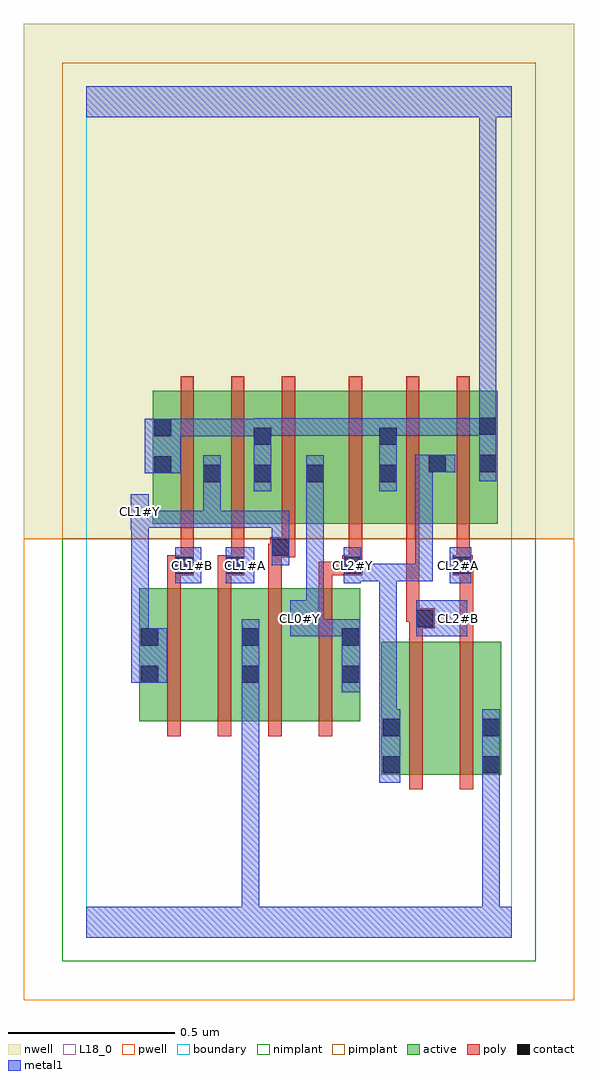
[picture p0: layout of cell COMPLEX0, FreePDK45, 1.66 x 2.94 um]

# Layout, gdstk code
import gdstk
lib = gdstk.Library(unit=1e-6, precision=1e-09)
def R(c, l, rs):  # rectangles x0, y0, x1, y1
    for r in rs: c.add(gdstk.rectangle(r[:2], r[2:], *l))
def A(c, l, x, y, w, h, nx, ny, dx, dy):  # array of equal rectangles
    R(c, l, [(x+i*dx, y+j*dy, x+i*dx+w, y+j*dy+h) for i in range(nx) for j in range(ny)])
active = (1, 0)
pwell = (2, 0)
nwell = (3, 0)
nimplant = (4, 0)
pimplant = (5, 0)
poly = (9, 0)
contact = (10, 0)
metal1 = (11, 0)
L18_0 = (18, 0)
boundary = (235, 0)

complex0 = lib.new_cell('COMPLEX0')
R(complex0, active, [(0.888,0.49,0.948,0.89), (0.888,0.49,1.068,0.89), (1.068,0.49,1.248,0.89), (1.188,0.49,1.248,0.89), (0.16,0.65,0.34,1.05), (0.34,0.65,0.524,1.05), (0.464,0.65,0.644,1.05), (0.644,0.65,0.824,1.05), (0.16,0.756,0.22,1.05), (0.464,0.756,0.524,0.934), (0.764,0.756,0.824,1.05), (0.2,1.244,0.26,1.644), (0.2,1.244,0.408,1.644), (0.348,1.244,0.408,1.644), (0.348,1.244,0.56,1.644), (0.5,1.244,0.56,1.644), (0.5,1.244,0.718,1.644), (0.658,1.244,0.718,1.644), (0.658,1.244,0.938,1.644), (0.878,1.244,0.938,1.644), (0.878,1.244,1.086,1.644), (1.026,1.244,1.086,1.644), (1.026,1.244,1.238,1.644), (1.178,1.244,1.238,1.644)])
R(complex0, pwell, [(-0.188,-0.188,1.468,1.2)])
R(complex0, nwell, [(-0.188,1.2,1.468,2.748)])
R(complex0, nimplant, [(-0.072,-0.072,1.352,1.2)])
R(complex0, pimplant, [(-0.072,1.2,1.352,2.632)])
A(complex0, poly, 0.244, 0.606, 0.04, 0.488, 4, 1, 0.152, 0)
A(complex0, poly, 0.284, 1.2, 0.04, 0.488, 3, 1, 0.152, 0)
R(complex0, poly, [(0.972,0.446,1.012,0.934), (1.124,0.446,1.164,0.934), (0.972,0.894,1.012,0.97), (1.124,0.894,1.164,1.13), (0.972,0.93,1.048,0.99), (0.962,0.95,1.002,1.24), (0.962,0.95,1.012,0.99), (0.972,0.95,1.012,0.99), (0.244,1.054,0.284,1.13), (0.396,1.054,0.436,1.13), (0.548,1.054,0.588,1.184), (0.7,1.054,0.74,1.13), (0.244,1.09,0.324,1.15), (0.396,1.09,0.476,1.15), (0.7,1.09,0.81,1.13), (0.77,1.09,0.81,1.13), (0.77,1.09,0.83,1.15), (1.102,1.09,1.162,1.15), (1.122,1.09,1.162,1.13), (1.122,1.09,1.164,1.13), (0.284,1.11,0.324,1.24), (0.284,1.11,0.324,1.15), (0.284,1.11,0.324,1.15), (0.436,1.11,0.476,1.24), (0.436,1.11,0.476,1.15), (0.436,1.11,0.476,1.15), (0.79,1.11,0.83,1.24), (1.114,1.11,1.154,1.24), (0.548,1.144,0.594,1.184), (0.554,1.144,0.594,1.184), (0.554,1.144,0.628,1.204), (0.588,1.164,0.628,1.24), (0.79,1.2,0.83,1.688), (0.962,1.2,1.002,1.688), (1.114,1.2,1.154,1.688)])
R(complex0, contact, [(0.892,0.494,0.944,0.546), (1.192,0.494,1.244,0.546), (0.892,0.606,0.944,0.658), (1.192,0.606,1.244,0.658), (0.164,0.766,0.216,0.818), (0.468,0.766,0.52,0.818), (0.768,0.766,0.82,0.818), (0.164,0.878,0.216,0.93), (0.468,0.878,0.52,0.93), (0.768,0.878,0.82,0.93), (0.992,0.934,1.044,0.986), (0.268,1.094,0.32,1.146), (0.42,1.094,0.472,1.146), (0.774,1.094,0.826,1.146), (1.106,1.094,1.158,1.146), (0.558,1.148,0.61,1.2), (0.352,1.37,0.404,1.422), (0.504,1.37,0.556,1.422), (0.662,1.37,0.714,1.422), (0.882,1.37,0.934,1.422), (0.204,1.396,0.256,1.448), (1.03,1.4,1.082,1.452), (1.182,1.4,1.234,1.452), (0.504,1.482,0.556,1.534), (0.882,1.482,0.934,1.534), (0.204,1.508,0.256,1.56), (1.182,1.512,1.234,1.564)])
R(complex0, metal1, [(0,0,1.28,0.092), (0.468,0.04,0.52,0.79), (1.192,0.04,1.244,0.092), (1.192,0.04,1.244,0.092), (1.192,0.04,1.244,0.092), (1.192,0.04,1.244,0.092), (1.192,0.04,1.244,0.518), (0.882,0.466,0.944,0.686), (1.192,0.466,1.244,0.518), (1.192,0.466,1.244,0.518), (1.192,0.466,1.244,0.518), (1.192,0.466,1.244,0.518), (1.192,0.466,1.244,0.518), (1.192,0.466,1.244,0.518), (1.192,0.466,1.244,0.518), (1.192,0.466,1.244,0.518), (1.192,0.466,1.244,0.686), (0.882,0.634,0.934,0.686), (0.882,0.634,0.934,0.686), (0.882,0.634,0.934,1.124), (0.468,0.738,0.52,0.79), (0.468,0.738,0.52,0.79), (0.468,0.738,0.52,0.79), (0.468,0.738,0.52,0.79), (0.468,0.738,0.52,0.79), (0.468,0.738,0.52,0.79), (0.468,0.738,0.52,0.79), (0.468,0.738,0.52,0.79), (0.468,0.738,0.52,0.79), (0.468,0.738,0.52,0.79), (0.468,0.738,0.52,0.79), (0.468,0.738,0.52,0.79), (0.468,0.738,0.52,0.958), (0.768,0.738,0.824,0.958), (0.136,0.766,0.244,0.93), (0.136,0.878,0.188,0.93), (0.136,0.878,0.188,0.93), (0.136,0.878,0.188,1.278), (0.614,0.906,0.714,1.014), (0.662,0.906,0.72,0.958), (0.668,0.906,0.72,0.958), (0.668,0.906,0.824,0.958), (0.772,0.906,0.824,0.958), (0.772,0.906,0.824,0.958), (0.992,0.906,1.146,1.014), (0.662,0.962,0.714,1.394), (0.268,1.066,0.346,1.174), (0.42,1.066,0.506,1.174), (0.774,1.066,0.826,1.174), (1.094,1.066,1.158,1.174), (0.774,1.072,0.826,1.124), (0.774,1.072,0.826,1.124), (0.774,1.072,0.934,1.124), (0.882,1.072,0.934,1.124), (0.882,1.072,0.944,1.124), (0.892,1.072,0.944,1.124), (0.892,1.072,1.042,1.124), (0.99,1.072,1.042,1.124), (0.99,1.072,1.042,1.452), (0.558,1.12,0.61,1.284), (0.134,1.226,0.188,1.334), (0.136,1.232,0.188,1.284), (0.136,1.232,0.188,1.284), (0.136,1.232,0.404,1.284), (0.352,1.232,0.404,1.284), (0.352,1.232,0.404,1.284), (0.352,1.232,0.404,1.284), (0.352,1.232,0.514,1.284), (0.352,1.232,0.404,1.394), (0.462,1.232,0.514,1.284), (0.462,1.232,0.61,1.284), (0.352,1.342,0.404,1.45), (0.504,1.342,0.556,1.562), (0.662,1.342,0.714,1.394), (0.662,1.342,0.714,1.394), (0.662,1.342,0.714,1.45), (0.882,1.342,0.934,1.562), (1.182,1.372,1.234,1.592), (0.176,1.396,0.284,1.56), (0.99,1.4,1.11,1.452), (0.232,1.508,0.284,1.56), (0.232,1.508,0.284,1.56), (0.232,1.508,0.394,1.56), (0.342,1.508,0.394,1.56), (0.342,1.508,0.394,1.56), (0.342,1.508,0.394,1.56), (0.342,1.508,0.556,1.56), (0.504,1.51,0.556,1.562), (0.504,1.51,0.556,1.562), (0.504,1.51,0.71,1.562), (0.658,1.51,0.71,1.562), (0.658,1.51,0.72,1.562), (0.668,1.51,0.72,1.562), (0.668,1.51,0.824,1.562), (0.772,1.51,0.824,1.562), (0.772,1.51,0.934,1.562), (0.882,1.51,0.936,1.562), (0.884,1.51,0.936,1.562), (0.884,1.51,1.054,1.562), (1.002,1.51,1.054,1.562), (1.002,1.51,1.054,1.562), (1.002,1.51,1.054,1.562), (1.002,1.51,1.234,1.562), (1.182,1.54,1.234,2.52), (0,2.468,1.28,2.56), (1.182,2.468,1.234,2.52), (1.182,2.468,1.234,2.52), (1.182,2.468,1.234,2.52), (1.182,2.468,1.234,2.52), (1.182,2.468,1.234,2.52), (1.182,2.468,1.234,2.52), (1.182,2.468,1.234,2.52), (1.182,2.468,1.234,2.52), (1.182,2.468,1.234,2.52), (1.182,2.468,1.234,2.52), (1.182,2.468,1.234,2.52), (1.182,2.468,1.234,2.52), (1.182,2.468,1.234,2.52), (1.182,2.468,1.234,2.52), (1.182,2.468,1.234,2.52), (1.182,2.468,1.234,2.52)])
A(complex0, L18_0, 0.454, 1.094, 0.052, 0.052, 3, 1, 0.32, 0)
R(complex0, L18_0, [(0,0,1.28,0.092), (0.468,0.04,0.52,0.79), (1.192,0.04,1.244,0.092), (1.192,0.04,1.244,0.092), (1.192,0.04,1.244,0.092), (1.192,0.04,1.244,0.092), (1.192,0.04,1.244,0.518), (0.882,0.466,0.944,0.686), (1.192,0.466,1.244,0.518), (1.192,0.466,1.244,0.518), (1.192,0.466,1.244,0.518), (1.192,0.466,1.244,0.518), (1.192,0.466,1.244,0.518), (1.192,0.466,1.244,0.518), (1.192,0.466,1.244,0.518), (1.192,0.466,1.244,0.518), (1.192,0.466,1.244,0.686), (0.882,0.634,0.934,0.686), (0.882,0.634,0.934,0.686), (0.882,0.634,0.934,1.124), (0.468,0.738,0.52,0.79), (0.468,0.738,0.52,0.79), (0.468,0.738,0.52,0.79), (0.468,0.738,0.52,0.79), (0.468,0.738,0.52,0.79), (0.468,0.738,0.52,0.79), (0.468,0.738,0.52,0.79), (0.468,0.738,0.52,0.79), (0.468,0.738,0.52,0.79), (0.468,0.738,0.52,0.79), (0.468,0.738,0.52,0.79), (0.468,0.738,0.52,0.79), (0.468,0.738,0.52,0.958), (0.768,0.738,0.824,0.958), (0.136,0.766,0.244,0.93), (0.136,0.878,0.188,0.93), (0.136,0.878,0.188,0.93), (0.136,0.878,0.188,1.278), (0.614,0.906,0.714,1.014), (0.662,0.906,0.72,0.958), (0.668,0.906,0.72,0.958), (0.668,0.906,0.824,0.958), (0.772,0.906,0.824,0.958), (0.772,0.906,0.824,0.958), (0.992,0.906,1.146,1.014), (0.614,0.934,0.666,0.986), (1.094,0.934,1.146,0.986), (0.662,0.962,0.714,1.394), (0.268,1.066,0.346,1.174), (0.42,1.066,0.506,1.174), (0.774,1.066,0.826,1.174), (1.094,1.066,1.158,1.174), (0.774,1.072,0.826,1.124), (0.774,1.072,0.826,1.124), (0.774,1.072,0.934,1.124), (0.882,1.072,0.934,1.124), (0.882,1.072,0.944,1.124), (0.892,1.072,0.944,1.124), (0.892,1.072,1.042,1.124), (0.99,1.072,1.042,1.124), (0.99,1.072,1.042,1.452), (0.294,1.094,0.346,1.146), (0.558,1.12,0.61,1.284), (0.134,1.226,0.188,1.334), (0.136,1.232,0.188,1.284), (0.136,1.232,0.188,1.284), (0.136,1.232,0.404,1.284), (0.352,1.232,0.404,1.284), (0.352,1.232,0.404,1.284), (0.352,1.232,0.404,1.284), (0.352,1.232,0.404,1.394), (0.352,1.232,0.514,1.284), (0.462,1.232,0.514,1.284), (0.462,1.232,0.61,1.284), (0.134,1.254,0.186,1.306), (0.352,1.342,0.404,1.45), (0.504,1.342,0.556,1.562), (0.662,1.342,0.714,1.394), (0.662,1.342,0.714,1.394), (0.662,1.342,0.714,1.45), (0.882,1.342,0.934,1.562), (1.182,1.372,1.234,1.592), (0.176,1.396,0.284,1.56), (0.99,1.4,1.11,1.452), (0.232,1.508,0.284,1.56), (0.232,1.508,0.284,1.56), (0.232,1.508,0.394,1.56), (0.342,1.508,0.394,1.56), (0.342,1.508,0.394,1.56), (0.342,1.508,0.394,1.56), (0.342,1.508,0.556,1.56), (0.504,1.51,0.556,1.562), (0.504,1.51,0.556,1.562), (0.504,1.51,0.71,1.562), (0.658,1.51,0.71,1.562), (0.658,1.51,0.72,1.562), (0.668,1.51,0.72,1.562), (0.668,1.51,0.824,1.562), (0.772,1.51,0.824,1.562), (0.772,1.51,0.934,1.562), (0.882,1.51,0.936,1.562), (0.884,1.51,0.936,1.562), (0.884,1.51,1.054,1.562), (1.002,1.51,1.054,1.562), (1.002,1.51,1.054,1.562), (1.002,1.51,1.054,1.562), (1.002,1.51,1.234,1.562), (1.182,1.54,1.234,2.52), (0,2.468,1.28,2.56), (1.182,2.468,1.234,2.52), (1.182,2.468,1.234,2.52), (1.182,2.468,1.234,2.52), (1.182,2.468,1.234,2.52), (1.182,2.468,1.234,2.52), (1.182,2.468,1.234,2.52), (1.182,2.468,1.234,2.52), (1.182,2.468,1.234,2.52), (1.182,2.468,1.234,2.52), (1.182,2.468,1.234,2.52), (1.182,2.468,1.234,2.52), (1.182,2.468,1.234,2.52), (1.182,2.468,1.234,2.52), (1.182,2.468,1.234,2.52), (1.182,2.468,1.234,2.52), (1.182,2.468,1.234,2.52)])
R(complex0, boundary, [(0,0,1.28,2.56)])
complex0.add(gdstk.Label('CL0#Y', (0.64,0.96), layer=11, texttype=0))
complex0.add(gdstk.Label('CL1#A', (0.48,1.12), layer=11, texttype=0))
complex0.add(gdstk.Label('CL1#B', (0.32,1.12), layer=11, texttype=0))
complex0.add(gdstk.Label('CL1#Y', (0.16,1.28), layer=11, texttype=0))
complex0.add(gdstk.Label('CL2#A', (1.12,1.12), layer=11, texttype=0))
complex0.add(gdstk.Label('CL2#B', (1.12,0.96), layer=11, texttype=0))
complex0.add(gdstk.Label('CL2#Y', (0.8,1.12), layer=11, texttype=0))

lib.write_gds('COMPLEX0.gds')
